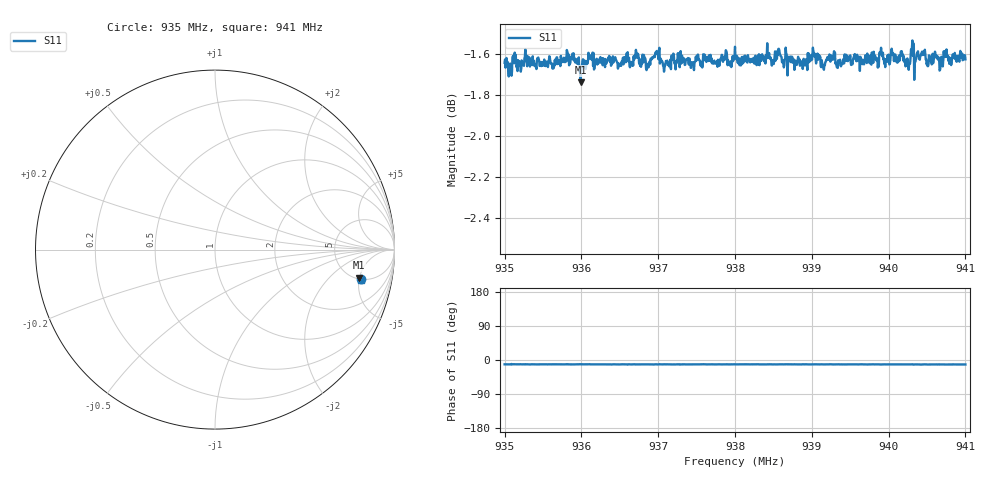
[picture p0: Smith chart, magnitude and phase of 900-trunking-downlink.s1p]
! Calibrated averaged scanner-service zoom
# Hz S RI R 50
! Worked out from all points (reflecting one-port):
!   1001 points, 935 MHz to 941 MHz, reference 50 ohm
!   lowest |S11| = -1.7 dB at 935.99 MHz (marker M1), VSWR 10.02, Z = 262 - j248 ohm
!   phase of S11 starts at -11 deg and turns -0 deg over the sweep
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9.35e8  0.8112 -0.1638
9.35066e8  0.807 -0.1624
9.35102e8  0.8135 -0.1637
9.3542e8  0.8114 -0.1677
9.3575e8  0.8128 -0.1625
9.35882e8  0.8149 -0.1662
9.3599e8  0.8034 -0.1564
9.36116e8  0.8138 -0.1662
9.365e8  0.8095 -0.1678
9.3671e8  0.8166 -0.1671
9.36872e8  0.8089 -0.164
9.36986e8  0.8152 -0.1661
9.3707e8  0.8092 -0.1656
9.3719e8  0.8136 -0.169
9.3725e8  0.8121 -0.1641
9.37862e8  0.8139 -0.1646
9.37934e8  0.81 -0.1637
9.38e8  0.8187 -0.1641
9.3848e8  0.8098 -0.1642
9.38576e8  0.8166 -0.1678
9.3875e8  0.8117 -0.167
9.395e8  0.8137 -0.1686
9.40058e8  0.815 -0.1672
9.4025e8  0.8087 -0.1702
9.40298e8  0.8174 -0.1644
9.40682e8  0.81 -0.1685
9.40742e8  0.8156 -0.1701
9.41e8  0.8116 -0.1697
